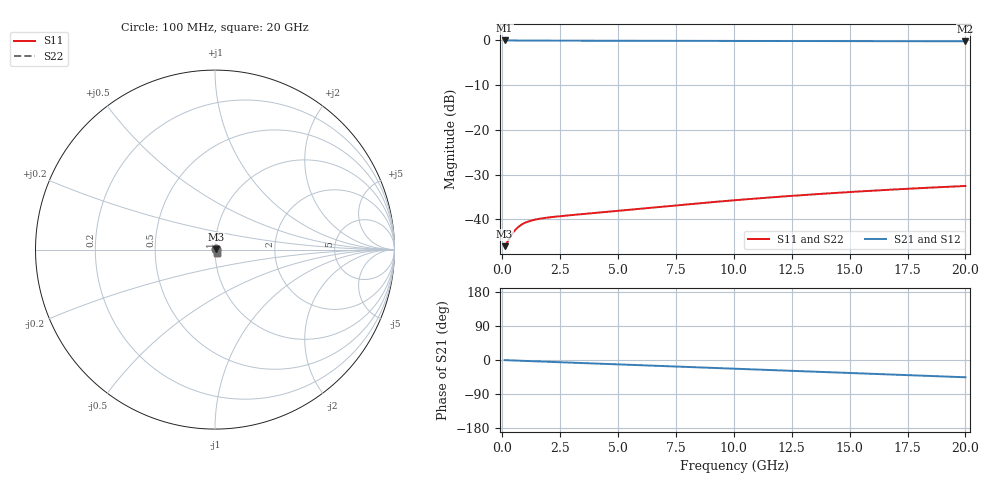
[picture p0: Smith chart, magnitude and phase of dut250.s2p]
! Touchstone file exported from HFSS 2026.1.0
!  File:  C:/ffzhzh/LocalFiles/Ansys_Project_Files/temp_train_BSMRDL_250_1782988572_42984.aedt
!  Generated:  06:37:33 PM Jul  2, 2026
!  Design:  BSMRDL
!  Project:  temp_train_BSMRDL_250_1782988572_42984
! Variables:
!  h_bsmrdl = 2.44um
!  h_ox = 20um
!  h_rdl = 5um
!  h_sub = 80um
!  h_tmrdl = 5um
!  h_tsv = 80um
!  h_via = 3um
!  l_bsmrdl = 807.84um
!  l_sub = 1207.84um
!  l_tmrdl = 200um
!  m_sub = 200um
!  pitch = 29.12um
!  r_tsv = 6um
!  s_tmrdl = 10um
!  w_bsmrdl = 25.74um
!  w_sub = 500um
!  w_tmrdl = 12um
!  x_tsv_center1 = 206um
!  x_tsv_center2 = 1039.58um
!  x_tsv_center3 = 1251.58um
!  x_tsv_center4 = 2085.16um
!  x_tsv_center5 = 2297.16um
!  x_tsv_center6 = 3130.74um
# GHz S MA R 50.000000
! Terminal data exported
! Port[1] = BSM_RDL1_1_T1
! Port[2] = BSM_RDL1_1_T2
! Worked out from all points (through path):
!   200 points, 100 MHz to 20 GHz, reference 50 ohm
!   highest |S21| = -0.04 dB at 100 MHz (marker M1); lowest = -0.2 dB at 20 GHz (marker M2)
!   group delay of S21, straight-line fit = 6.32 ps
!   lowest |S11| = -46.0 dB at 100 MHz (marker M3), VSWR 1.01, Z = 50.5 + j0.0893 ohm
!   |S11| at or under -10 dB: start of sweep to end of sweep
!   |S22| runs from -46.0 to -32.5 dB; largest |S21 - S12| = 2.1e-15
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0.1  0.00502 10.1  0.9951 -0.3  0.9951 -0.3  0.00502 10.1
! Gamma 0 0 0 0
! Port Impedance 50 0 50 0
0.2  0.005485 17.6  0.9947 -0.6  0.9947 -0.6  0.005493 17.6
0.4  0.006722 23.7  0.9936 -1.1  0.9936 -1.1  0.006742 23.8
0.5  0.007308 24.0  0.9931 -1.3  0.9931 -1.3  0.007331 24.1
0.6  0.007822 23.5  0.9926 -1.6  0.9926 -1.6  0.007846 23.5
0.7  0.008261 22.6  0.9921 -1.8  0.9921 -1.8  0.008284 22.6
0.8  0.008631 21.5  0.9918 -2.0  0.9918 -2.0  0.008652 21.5
1  0.0092 19.2  0.9912 -2.5  0.9912 -2.5  0.009219 19.2
1.3  0.00977 16.2  0.9906 -3.1  0.9906 -3.1  0.009785 16.2
1.5  0.01004 14.6  0.9904 -3.6  0.9904 -3.6  0.01005 14.6
1.8  0.01034 12.6  0.99 -4.3  0.99 -4.3  0.01035 12.6
2.4  0.01079 9.7  0.9896 -5.7  0.9896 -5.7  0.0108 9.7
3.5  0.01148 6.1  0.9889 -8.2  0.9889 -8.2  0.01149 6.1
5.1  0.01253 1.8  0.9877 -11.9  0.9877 -11.9  0.01255 1.7
6.8  0.01379 -3.3  0.9863 -15.8  0.9863 -15.8  0.01381 -3.4
8.4  0.01504 -8.8  0.9849 -19.4  0.9849 -19.4  0.01508 -8.9
10.1  0.01641 -15.3  0.9832 -23.3  0.9832 -23.3  0.01646 -15.4
11.7  0.01768 -21.7  0.9817 -26.9  0.9817 -26.9  0.01776 -21.8
13.4  0.019 -28.7  0.98 -30.8  0.98 -30.8  0.0191 -28.9
15  0.02019 -35.4  0.9784 -34.4  0.9784 -34.4  0.02032 -35.6
16.7  0.02141 -42.6  0.9768 -38.2  0.9768 -38.2  0.02156 -42.7
20  0.02359 -56.2  0.9738 -45.6  0.9738 -45.6  0.02381 -56.3
